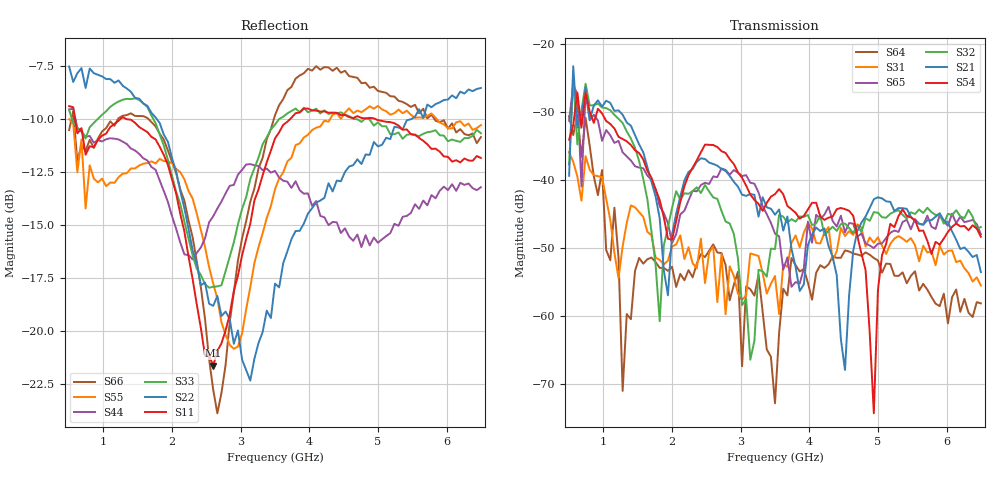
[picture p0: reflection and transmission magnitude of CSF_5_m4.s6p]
!Keysight Technologies,M9804A,MY58100912,A.14.10.03
!Date: Thursday, April 27, 2023 10:28:33
!Correction: S11(C  6-Port  )
!S12(C  6-Port  )
!S13(C  6-Port  )
!S14(C  6-Port  )
!S15(C  6-Port  )
!S16(C  6-Port  )
!S21(C  6-Port  )
!S22(C  6-Port  )
!S23(C  6-Port  )
!S24(C  6-Port  )
!S25(C  6-Port  )
!S26(C  6-Port  )
!S31(C  6-Port  )
!S32(C  6-Port  )
!S33(C  6-Port  )
!S34(C  6-Port  )
!S35(C  6-Port  )
!S36(C  6-Port  )
!S41(C  6-Port  )
!S42(C  6-Port  )
!S43(C  6-Port  )
!S44(C  6-Port  )
!S45(C  6-Port  )
!S46(C  6-Port  )
!S51(C  6-Port  )
!S52(C  6-Port  )
!S53(C  6-Port  )
!S54(C  6-Port  )
!S55(C  6-Port  )
!S56(C  6-Port  )
!S61(C  6-Port  )
!S62(C  6-Port  )
!S63(C  6-Port  )
!S64(C  6-Port  )
!S65(C  6-Port  )
!S66(C  6-Port  )
!S6P File: Measurement: :
# Hz S  RI  R 50
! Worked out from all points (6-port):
!   101 points, 500 MHz to 6.5 GHz, reference 50 ohm
!   strongest paths, dB at 500 MHz, 2 GHz, 3.5 GHz, 5 GHz, 6.5 GHz:
!     S54: -34.1, -48.8, -42.1, -56.2, -48.4
!     S21: -39.4, -48.0, -45.1, -42.5, -53.6
!     S32: -37.7, -44.1, -50.2, -44.8, -46.9
!     S65: -31.3, -49.3, -47.9, -49.4, -48.0
!     S31: -35.9, -49.8, -54.1, -48.4, -55.5
!     S64: -30.6, -52.8, -72.9, -51.9, -58.2
!   lowest |S11| = -21.6 dB at 2.6 GHz (marker M1), VSWR 1.18, Z = 42.6 + j2.05 ohm
!   |S11| at or under -10 dB: 587.8 MHz to 1.243 GHz (655.1 MHz wide, 71.6 % of centre); 1.362 GHz to 3.716 GHz (2.354 GHz wide, 92.7 % of centre); 4.974 GHz to end of sweep
